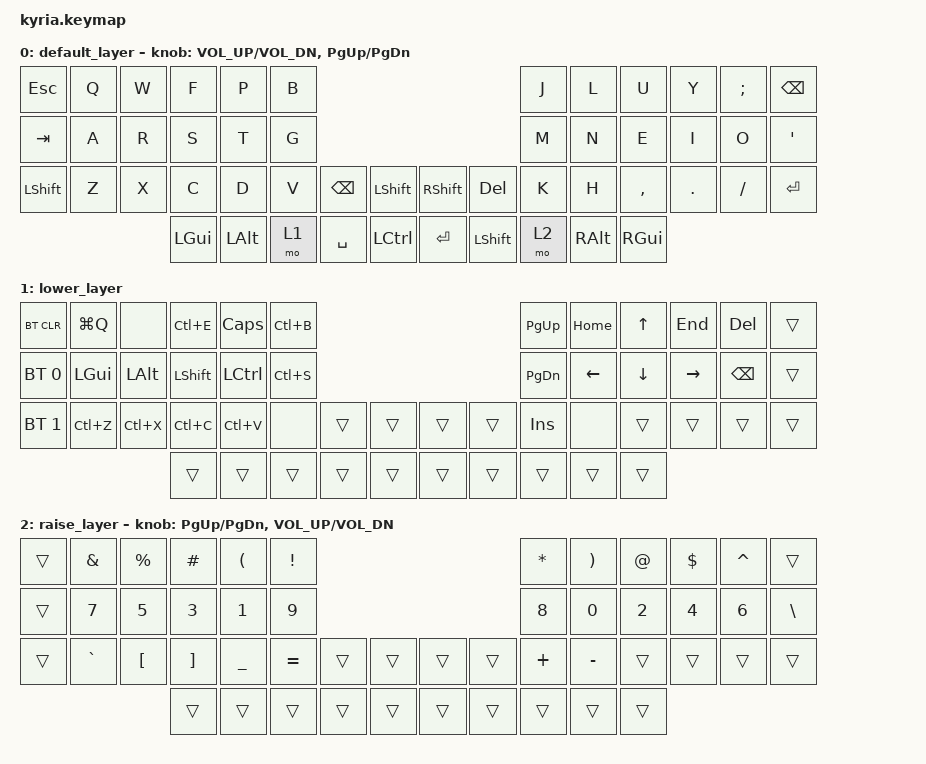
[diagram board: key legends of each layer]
/*
 * Copyright (c) 2020 The ZMK Contributors
 *
 * SPDX-License-Identifier: MIT
 */

#include <behaviors.dtsi>
#include <dt-bindings/zmk/keys.h>
#include <dt-bindings/zmk/bt.h>

/ {
	keymap {
		compatible = "zmk,keymap";

		default_layer {
// ---------------------------------------------------------------------------------------------------------------------------------
// |  TAB  |  Q  |  W  |  F   |  P   |  B   |                                          |  J   |  L    |  U    |  Y   |   ;   | BSPC |
// |  ESC  |  A  |  R  |  S   |  T   |  G   |                                          |  M   |  N    |  E    |  I   |   O   |   '  |
// | SHIFT |  Z  |  X  |  C   |  D   |  V   | L SHIFT | L SHIFT |  | R SHIFT |  DEL    |  K   |  H    |  ,    |  .   |   /   | RET  |
//                     | GUI  | ALT  | LWR  |  SPACE  | L CTRL  |  |   RET   | L SHIFT | RSE  | ALT   | GUI   |
			bindings = <
	&kp ESC   &kp Q &kp W &kp F    &kp P    &kp B                                                &kp J &kp L    &kp U     &kp Y   &kp SEMI &kp BSPC
	&kp TAB   &kp A &kp R &kp S    &kp T    &kp G                                                &kp M &kp N    &kp E     &kp I   &kp O    &kp SQT
	&kp LSHFT &kp Z &kp X &kp C    &kp D    &kp V &kp BSPC  &kp LSHFT        &kp RSHFT &kp DEL   &kp K &kp H    &kp COMMA &kp DOT &kp FSLH &kp RET
	                      &kp LGUI &kp LALT &mo 1 &kp SPACE &kp LCTRL        &kp RET   &kp LSHFT &mo 2 &kp RALT &kp RGUI
			>;

			sensor-bindings = <&inc_dec_kp C_VOL_UP C_VOL_DN &inc_dec_kp PG_UP PG_DN>;
		};
                lower_layer {
                        bindings = <
	&bt BT_CLR   &kp LG(Q) &none     &kp LC(E) &kp CAPS  &kp LC(B)                                  &kp PG_UP &kp HOME &kp UP   &kp END   &kp DEL  &trans
	&bt BT_SEL 0 &kp LGUI  &kp LALT  &kp LSHFT &kp LCTRL &kp LC(S)                                  &kp PG_DN &kp LEFT &kp DOWN &kp RIGHT &kp BSPC &trans
	&bt BT_SEL 1 &kp LC(Z) &kp LC(X) &kp LC(C) &kp LC(V) &none   &trans &trans        &trans &trans  &kp INS &none   &trans   &trans    &trans   &trans
	                                 &trans    &trans    &trans   &trans &trans        &trans &trans  &trans  &trans   &trans
                        >;
                };

                raise_layer {
                        bindings = <
	&trans  &kp AMPS &kp PRCNT &kp HASH &kp LPAR  &kp EXCL                                   &kp ASTRK  &kp RPAR  &kp AT &kp DLLR &kp CARET &trans
	&trans  &kp N7   &kp N5    &kp N3   &kp N1    &kp N9                                       &kp N8   &kp N0    &kp N2 &kp N4   &kp N6    &kp BSLH
	&trans  &kp GRAVE &kp LBKT  &kp RBKT &kp UNDER &kp EQUAL &trans &trans       &trans  &trans &kp PLUS &kp MINUS &trans &trans   &trans    &trans 
	                            &trans   &trans    &trans    &trans &trans       &trans  &trans &trans   &trans    &trans 
                        >;
				sensor-bindings = <&inc_dec_kp PG_UP PG_DN &inc_dec_kp C_VOL_UP C_VOL_DN >;		
                };		
		
		
	};
};
